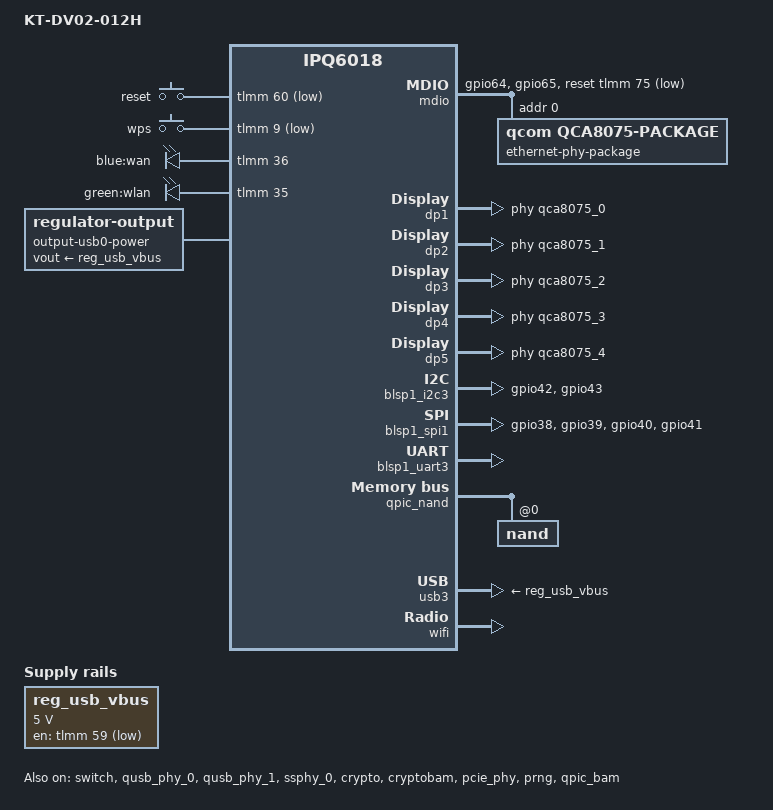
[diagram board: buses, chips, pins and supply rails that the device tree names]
// SPDX-License-Identifier: (GPL-2.0+)
/* Copyright (c) 2025, Mohammed baalawi <baalwy2009@gmail.com> */

/dts-v1/;

// #include "ipq6018.dtsi"
#include "ipq6018-512m.dtsi"
#include "ipq6018-cp-cpu.dtsi"
#include "ipq6018-ess.dtsi"
// #include "ipq6018-nss.dtsi"
#include <dt-bindings/gpio/gpio.h>
#include <dt-bindings/input/input.h>
#include <dt-bindings/leds/common.h>

/ {
	model = "KT-DV02-012H";
	compatible = "kt,dv02-012h", "qcom,ipq6018";

	aliases {
		serial0 = &blsp1_uart3;
		label-mac-device = &dp3;
		led-boot = &led_wan;
		led-failsafe = &led_wan;
		led-running = &led_wan;
		led-upgrade = &led_wan;
		ethernet0 = &dp1;
		ethernet1 = &dp2;
		ethernet2 = &dp3;
		ethernet3 = &dp4;
		ethernet4 = &dp5;
	};

	chosen {
		stdout-path = "serial0:115200n8";
		bootargs-append = " root=/dev/ubiblock0_1 swiotlb=1";
	};

	keys {
		compatible = "gpio-keys";
		reset {
			label = "reset";
			gpios = <&tlmm 60 GPIO_ACTIVE_LOW>;
			linux,code = <KEY_RESTART>;
			};
		wps {
			label = "wps";
			gpios = <&tlmm 9 GPIO_ACTIVE_LOW>;
			linux,code = <KEY_WPS_BUTTON>;
			};
		};

	leds {
		compatible = "gpio-leds";

		led_wan: wan {
			label = "blue:wan";
			gpios = <&tlmm 36 GPIO_ACTIVE_HIGH>;
		};

		wlan {
			label = "green:wlan";
			gpios = <&tlmm 35 GPIO_ACTIVE_HIGH>;
		};
	};

	reg_usb_vbus: regulator-usb-vbus {
		compatible = "regulator-fixed";
		regulator-name = "usb_vbus";
		regulator-min-microvolt = <5000000>;
		regulator-max-microvolt = <5000000>;
		gpio = <&tlmm 59 GPIO_ACTIVE_HIGH>;
		regulator-boot-on;
		regulator-always-on;
	};

	output-usb0-power {
		compatible = "regulator-output";
		vout-supply = <&reg_usb_vbus>;
	};
};

&tlmm {
	gpio-reserved-ranges = <20 1>;

	mdio_pins: mdio-pins {
		mdc {
			pins = "gpio64";
			function = "mdc";
			drive-strength = <8>;
			bias-pull-up;
		};

		mdio {
			pins = "gpio65";
			function = "mdio";
			drive-strength = <8>;
			bias-pull-up;
		};
	};

	i2c_1_pins: i2c-1-state {
		pins = "gpio42", "gpio43";
		function = "blsp2_i2c";
		drive-strength = <8>;
	};

	spi_0_pins: spi-0-state {
		pins = "gpio38", "gpio39", "gpio40", "gpio41";
		function = "blsp0_spi";
		drive-strength = <8>;
		bias-pull-down;
	};
};

&mdio {
	status = "okay";
	pinctrl-0 = <&mdio_pins>;
	pinctrl-names = "default";
	reset-gpios = <&tlmm 75 GPIO_ACTIVE_LOW>;

	ethernet-phy-package@0 {
		compatible = "qcom,qca8075-package";
		#address-cells = <1>;
		#size-cells = <0>;
		reg = <0>;

		qca8075_0: ethernet-phy@0 {
			compatible = "ethernet-phy-ieee802.3-c22";
			reg = <0>;
			
			leds {
				#address-cells = <1>;
				#size-cells = <0>;

				led@1 {
					reg = <1>;
					color = <LED_COLOR_ID_GREEN>;
					function = LED_FUNCTION_LAN;
					default-state = "keep";
				};
			};
		};

		qca8075_1: ethernet-phy@1 {
			compatible = "ethernet-phy-ieee802.3-c22";
			reg = <1>;

			leds {
				#address-cells = <1>;
				#size-cells = <0>;

				led@1 {
					reg = <1>;
					color = <LED_COLOR_ID_GREEN>;
					function = LED_FUNCTION_LAN;
					default-state = "keep";
				};
			};
		};

		qca8075_2: ethernet-phy@2 {
			compatible = "ethernet-phy-ieee802.3-c22";
			reg = <2>;

			leds {
				#address-cells = <1>;
				#size-cells = <0>;

				led@1 {
					reg = <1>;
					color = <LED_COLOR_ID_GREEN>;
					function = LED_FUNCTION_LAN;
					default-state = "keep";
				};
			};
		};

		qca8075_3: ethernet-phy@3 {
			compatible = "ethernet-phy-ieee802.3-c22";
			reg = <3>;

			leds {
				#address-cells = <1>;
				#size-cells = <0>;

				led@1 {
					reg = <1>;
					color = <LED_COLOR_ID_GREEN>;
					function = LED_FUNCTION_LAN;
					default-state = "keep";
				};
			};
		};

		qca8075_4: ethernet-phy@4 {
			compatible = "ethernet-phy-ieee802.3-c22";
			reg = <4>;

			leds {
				#address-cells = <1>;
				#size-cells = <0>;

				led@1 {
					reg = <1>;
					color = <LED_COLOR_ID_GREEN>;
					function = LED_FUNCTION_LAN;
					default-state = "keep";
				};
			};
		};
	};
};

&dp1 {
	status = "okay";
	label = "lan4";
	phy-handle = <&qca8075_0>;
};

&dp2 {
	status = "okay";
	label = "lan3";
	phy-handle = <&qca8075_1>;
};

&dp3 {
	status = "okay";
	label = "lan2";
	phy-handle = <&qca8075_2>;
};

&dp4 {
	status = "okay";
	label = "lan1";
	phy-handle = <&qca8075_3>;
};

&dp5 {
	status = "okay";
	label = "wan";
	phy-handle = <&qca8075_4>;
};

&edma {
	status = "okay";
};

&switch {
	status = "okay";
	switch_lan_bmp = <(ESS_PORT1 | ESS_PORT2 | ESS_PORT3 | ESS_PORT4)>;
	switch_wan_bmp = <ESS_PORT5>;
	switch_mac_mode = <MAC_MODE_PSGMII>;

	qcom,port_phyinfo {
		port@1 {
			port_id = <1>;
			phy_address = <0>;
		};
		port@2 {
			port_id = <2>;
			phy_address = <1>;
		};
		port@3 {
			port_id = <3>;
			phy_address = <2>;
		};
		port@4 {
			port_id = <4>;
			phy_address = <3>;
		};
		port@5 {
			port_id = <5>;
			phy_address = <4>;
	  	};
	};
};

&blsp1_i2c3 {
	status = "okay";
	pinctrl-0 = <&i2c_1_pins>;
	pinctrl-names = "default";
};

&blsp1_spi1 {
	status = "okay";
	pinctrl-0 = <&spi_0_pins>;
	pinctrl-names = "default";
};

&blsp1_uart3 {
	status = "okay";
	pinctrl-0 = <&serial_3_pins>;
	pinctrl-names = "default";
};


// &nss_crypto {
	// status = "ok";
// };

&qpic_nand {
	status = "okay";
	nand@0 {
		reg = <0>;
		nand-ecc-strength = <4>;
		nand-ecc-step-size = <512>;
		nand-bus-width = <8>;
		partitions {
			compatible = "qcom,smem-part";
		};
	};
};

&qusb_phy_0 {
	status = "okay";
	vdd-supply = <&reg_usb_vbus>;
};

&qusb_phy_1 {
	status = "okay";
};

&ssphy_0 {
	status = "okay";
};

&usb2 {
	status = "disabled";
};

&usb3 {
	status = "okay";
	vbus-supply = <&reg_usb_vbus>;
};

&rpm {
	status = "disabled";
};

&crypto {
	status = "okay";
};

&cryptobam {
	status = "okay";
};

&pcie_phy {
	status = "okay";
};

&prng {
	status = "okay";
};

&qpic_bam {
	status = "okay";
};

&wifi {
	status = "okay";
	qcom,ath11k-fw-memory-mode = <1>;
	qcom,ath11k-calibration-variant = "KT-DV02-012H";
};

&cpu_opp_table {
	opp-864000000 {
		opp-supported-hw = <0xf>;
	};

	opp-1056000000 {
		opp-supported-hw = <0xf>;
	};

	opp-1200000000 {
		opp-supported-hw = <0xf>;
	};

	opp-1320000000 {
		opp-supported-hw = <0xf>;
	};

	opp-1440000000 {
		opp-supported-hw = <0xf>;
	};

	opp-1512000000 {
		opp-supported-hw = <0xf>;
	};

	opp-1608000000 {
		opp-supported-hw = <0x1>;
	};

	opp-1800000000 {
		opp-supported-hw = <0x1>;
	};
};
